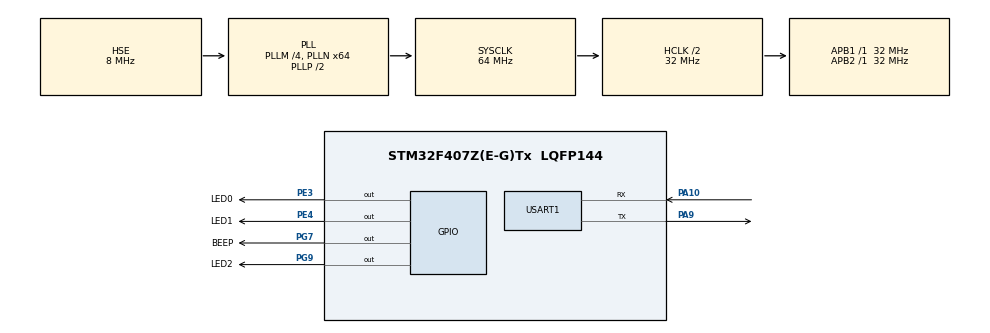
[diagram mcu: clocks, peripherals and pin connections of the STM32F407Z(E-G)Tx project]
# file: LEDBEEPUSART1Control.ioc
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Mcu.Family=STM32F4
Mcu.Name=STM32F407Z(E-G)Tx
Mcu.Package=LQFP144
NVIC.PriorityGroup=NVIC_PRIORITYGROUP_4
NVIC.USART1_IRQn=true\:0\:0\:false\:false\:true\:true\:true
PA10.Mode=Asynchronous
PA10.Signal=USART1_RX
PA13.Mode=JTAG_5_pins
PA13.Signal=SYS_JTMS-SWDIO
PA14.Mode=JTAG_5_pins
PA14.Signal=SYS_JTCK-SWCLK
PA15.Mode=JTAG_5_pins
PA15.Signal=SYS_JTDI
PA9.Mode=Asynchronous
PA9.Signal=USART1_TX
PB3.Mode=JTAG_5_pins
PB3.Signal=SYS_JTDO-SWO
PB4.Mode=JTAG_5_pins
PB4.Signal=SYS_JTRST
PE3.GPIO_Label=LED0
PE3.Signal=GPIO_Output
PE4.GPIO_Label=LED1
PE4.Signal=GPIO_Output
PG7.GPIO_Label=BEEP
PG7.Signal=GPIO_Output
PG9.GPIO_Label=LED2
PG9.Signal=GPIO_Output
PH0-OSC_IN.Mode=HSE-External-Oscillator
PH0-OSC_IN.Signal=RCC_OSC_IN
PH1-OSC_OUT.Mode=HSE-External-Oscillator
PH1-OSC_OUT.Signal=RCC_OSC_OUT
ProjectManager.HeapSize=0x200
ProjectManager.StackSize=0x400
ProjectManager.TargetToolchain=MDK-ARM V5.27
RCC.48MHZClocksFreq_Value=32000000
RCC.AHBCLKDivider=RCC_SYSCLK_DIV2
RCC.AHBFreq_Value=32000000
RCC.APB1Freq_Value=32000000
RCC.APB1TimFreq_Value=32000000
RCC.APB2Freq_Value=32000000
RCC.APB2TimFreq_Value=32000000
RCC.CortexFreq_Value=32000000
RCC.HCLKFreq_Value=32000000
RCC.HSE_VALUE=8000000
RCC.HSI_VALUE=16000000
RCC.LSE_VALUE=32768
RCC.PLLM=4
RCC.PLLN=64
RCC.PLLSourceVirtual=RCC_PLLSOURCE_HSE
RCC.SYSCLKFreq_VALUE=64000000
RCC.SYSCLKSource=RCC_SYSCLKSOURCE_PLLCLK
RCC.VCOOutputFreq_Value=128000000
USART1.VirtualMode=VM_ASYNC
board=custom

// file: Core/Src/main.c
/* USER CODE BEGIN Header */
/**
  ******************************************************************************
  * @file           : main.c
  * @brief          : Main program body
  ******************************************************************************
  * @attention
  *
  * <h2><center>&copy; Copyright (c) 2021 STMicroelectronics.
  * All rights reserved.</center></h2>
  *
  * This software component is licensed by ST under BSD 3-Clause license,
  * the "License"; You may not use this file except in compliance with the
  * License. You may obtain a copy of the License at:
  *                        opensource.org/licenses/BSD-3-Clause
  *
  ******************************************************************************
  */
/* USER CODE END Header */
#include "main.h"
#include "usart.h"
#include "gpio.h"

/* USER CODE BEGIN Includes */
#include "stdio.h"

/* USER CODE END Includes */

/* USER CODE BEGIN PTD */
#define LED1_ON() HAL_GPIO_WritePin(LED1_GPIO_Port,LED1_Pin,GPIO_PIN_RESET)
#define LED1_OFF() HAL_GPIO_WritePin(LED1_GPIO_Port,LED1_Pin,GPIO_PIN_SET)
#define LED2_ON() HAL_GPIO_WritePin(LED2_GPIO_Port,LED2_Pin,GPIO_PIN_RESET)
#define LED2_OFF() HAL_GPIO_WritePin(LED2_GPIO_Port,LED2_Pin,GPIO_PIN_SET)
#define LED3_ON() HAL_GPIO_WritePin(LED3_GPIO_Port,LED3_Pin,GPIO_PIN_RESET)
#define LED3_OFF() HAL_GPIO_WritePin(LED3_GPIO_Port,LED3_Pin,GPIO_PIN_SET)
#define BEEP_ON() HAL_GPIO_WritePin(BEEP_GPIO_Port,BEEP_Pin,GPIO_PIN_SET)
#define BEEP_OFF() HAL_GPIO_WritePin(BEEP_GPIO_Port,BEEP_Pin,GPIO_PIN_RESET)

uint8_t str_sd1[]="你好,这是我的第一次串口控制程序.\r\n";
uint8_t str_led1[]="LED0,1 已经打开.\r\n";
uint8_t str_led2[]="LED0,1 已经关闭.\r\n";
uint8_t str_beep1[]="蜂鸣器已经打开\r\n";
uint8_t str_beep2[]="蜂鸣器已经关闭\r\n";
uint8_t str_ledc1=161;  //0xA1
uint8_t str_ledc2=162;  //0XA2
uint8_t str_beepc1=163;  //0XA3
uint8_t str_beepc2=164;  //0XA4
//uint8_t str_ledc1=1;  //0xA1
//uint8_t str_ledc2=2;  //0XA2
//uint8_t str_beepc1=3;  //0XA3
//uint8_t str_beepc2=4;  //0XA4
uint8_t str_rd=0;

/* USER CODE END PTD */

void SystemClock_Config(void);

/* USER CODE BEGIN 0 */

void HAL_UART_RxCpltCallback(UART_HandleTypeDef *huart){

	if (huart->Instance==USART1){

		HAL_UART_Receive_IT(&huart1,&str_rd,sizeof(str_rd));
  	printf("接收信息为%i.\r\n",str_rd);

		if (str_rd==str_ledc1){
			LED1_ON();
			LED2_ON();
			BEEP_OFF();
			HAL_UART_Transmit(&huart1,str_led1,sizeof(str_led1),500);
		}else if (str_rd==str_ledc2){
			LED1_OFF();
			LED2_OFF();
			BEEP_OFF();
		  HAL_UART_Transmit(&huart1,str_led2,sizeof(str_led2),500);
		}else if (str_rd==str_beepc1){
			LED1_OFF();
			LED2_OFF();
			BEEP_ON();
			HAL_UART_Transmit(&huart1,str_beep1,sizeof(str_beep1),500);
		}else if (str_rd==str_beepc2){
			LED1_OFF();
			LED2_OFF();
			BEEP_OFF();
			HAL_UART_Transmit(&huart1,str_beep2,sizeof(str_beep2),500);
		}
	}
}

/* USER CODE END 0 */

int main(void)
{

  /* MCU Configuration--------------------------------------------------------*/

  /* Reset of all peripherals, Initializes the Flash interface and the Systick. */
  HAL_Init();

  /* Configure the system clock */
  SystemClock_Config();

  /* Initialize all configured peripherals */
  MX_GPIO_Init();
  MX_USART1_UART_Init();
  /* USER CODE BEGIN 2 */
	HAL_UART_Receive_IT(&huart1,&str_rd,sizeof(str_rd));

	HAL_GPIO_WritePin(LED0_GPIO_Port,LED0_Pin,GPIO_PIN_SET);
	HAL_GPIO_WritePin(LED1_GPIO_Port,LED1_Pin,GPIO_PIN_SET);
	HAL_GPIO_WritePin(LED2_GPIO_Port,LED2_Pin,GPIO_PIN_SET);

	HAL_GPIO_WritePin(LED1_GPIO_Port,LED1_Pin,GPIO_PIN_RESET);
	HAL_UART_Transmit_IT(&huart1,str_sd1,sizeof(str_sd1));
	HAL_Delay(1000);
	HAL_GPIO_WritePin(LED1_GPIO_Port,LED1_Pin,GPIO_PIN_SET);

  /* USER CODE END 2 */

  /* Infinite loop */
  while (1)
  {

  }
}

void SystemClock_Config(void)
{
  RCC_OscInitTypeDef RCC_OscInitStruct = {0};
  RCC_ClkInitTypeDef RCC_ClkInitStruct = {0};

  /** Configure the main internal regulator output voltage
  */
  __HAL_RCC_PWR_CLK_ENABLE();
  __HAL_PWR_VOLTAGESCALING_CONFIG(PWR_REGULATOR_VOLTAGE_SCALE1);
  /** Initializes the RCC Oscillators according to the specified parameters
  * in the RCC_OscInitTypeDef structure.
  */
  RCC_OscInitStruct.OscillatorType = RCC_OSCILLATORTYPE_HSE;
  RCC_OscInitStruct.HSEState = RCC_HSE_ON;
  RCC_OscInitStruct.PLL.PLLState = RCC_PLL_ON;
  RCC_OscInitStruct.PLL.PLLSource = RCC_PLLSOURCE_HSE;
  RCC_OscInitStruct.PLL.PLLM = 4;
  RCC_OscInitStruct.PLL.PLLN = 64;
  RCC_OscInitStruct.PLL.PLLP = RCC_PLLP_DIV2;
  RCC_OscInitStruct.PLL.PLLQ = 4;
  if (HAL_RCC_OscConfig(&RCC_OscInitStruct) != HAL_OK)
  {
    Error_Handler();
  }
  /** Initializes the CPU, AHB and APB buses clocks
  */
  RCC_ClkInitStruct.ClockType = RCC_CLOCKTYPE_HCLK|RCC_CLOCKTYPE_SYSCLK
                              |RCC_CLOCKTYPE_PCLK1|RCC_CLOCKTYPE_PCLK2;
  RCC_ClkInitStruct.SYSCLKSource = RCC_SYSCLKSOURCE_PLLCLK;
  RCC_ClkInitStruct.AHBCLKDivider = RCC_SYSCLK_DIV2;
  RCC_ClkInitStruct.APB1CLKDivider = RCC_HCLK_DIV1;
  RCC_ClkInitStruct.APB2CLKDivider = RCC_HCLK_DIV1;

  if (HAL_RCC_ClockConfig(&RCC_ClkInitStruct, FLASH_LATENCY_1) != HAL_OK)
  {
    Error_Handler();
  }
}

void Error_Handler(void)
{
  __disable_irq();
  while (1)
  {
  }
}

/************************ (C) COPYRIGHT STMicroelectronics *****END OF FILE****/
